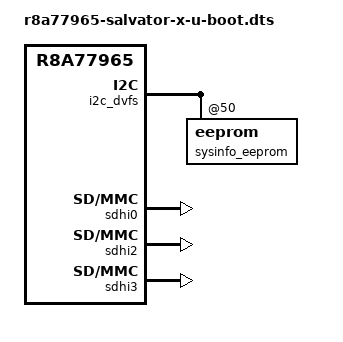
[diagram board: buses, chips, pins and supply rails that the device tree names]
// SPDX-License-Identifier: GPL-2.0
/*
 * Device Tree Source extras for U-Boot for the M3N Salvator-XS board
 *
 * Copyright (C) 2018 Marek Vasut <marek.vasut@gmail.com>
 */

#include "r8a77965-salvator-x.dts"
#include "r8a77965-u-boot.dtsi"

/ {
	sysinfo {
		compatible = "renesas,rcar-sysinfo";
		i2c-eeprom = <&sysinfo_eeprom>;
		bootph-all;
	};
};

&i2c_dvfs {
	bootph-all;

	sysinfo_eeprom: eeprom@50 {
		bootph-all;
		status = "okay";
	};
};

&rpc {
	reg = <0 0xee200000 0 0x100>, <0 0x08000000 0 0x04000000>;
	status = "disabled";
};

&sdhi0 {
	sd-uhs-sdr12;
	sd-uhs-sdr25;
	sd-uhs-sdr104;
	max-frequency = <208000000>;
	status = "okay";
};

&sdhi2 {
	mmc-ddr-1_8v;
	mmc-hs200-1_8v;
	mmc-hs400-1_8v;
	max-frequency = <200000000>;
	status = "okay";
};

&sdhi3 {
	sd-uhs-sdr12;
	sd-uhs-sdr25;
	sd-uhs-sdr104;
	max-frequency = <208000000>;
	status = "okay";
};

&vcc_sdhi0 {
	u-boot,off-on-delay-us = <20000>;
};

&vcc_sdhi3 {
	u-boot,off-on-delay-us = <20000>;
};
